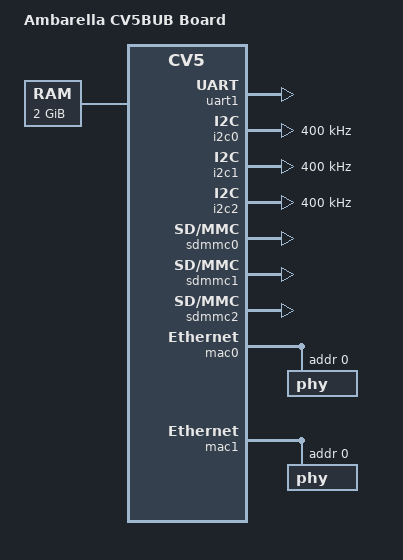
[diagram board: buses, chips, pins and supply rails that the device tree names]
/*
 * board level device tree source
 */

/dts-v1/;

/include/ "cv5.510.dtsi"

/ {
	model = "Ambarella CV5BUB Board";
	compatible = "ambarella,cv5bub", "ambarella,cv5";

	chosen {
		bootargs = "ubi.mtd=5 root=ubi0:linux rootfstype=ubifs console=ttyS0 nosmp maxcpus=0";
	};

	memory {
		device_type = "memory";
		reg = <0x0 0x200000 0x0 0x7fe00000>;
	};

	ddr-controller@1000004000 {
		burst-size = <0x40>;
	};

	apb@20e4000000 {

	};

	ahb@20e0000000 {
		nand@e0002000 {
			amb,timing = <0x303320c 0x5050505 0x71464 0x0 0x0 0x0>;
		};
	};
};

&uart1 {
	status = "ok";
};

&i2c0 {
	clock-frequency = <400000>;
	status = "ok";
};

&i2c1 {
	clock-frequency = <400000>;
	pinctrl-0 = <&i2c1_pins_a>;
	status = "ok";
};

&i2c2 {
	clock-frequency = <400000>;
	pinctrl-0 = <&i2c2_pins_a>;
	status = "ok";
};

&spi4 {
	pinctrl-0 = <&spi4_pins_b>;
};

&spi5 {
	pinctrl-0 = <&spi5_pins_b>;
};

&sdmmc0 {
	/*pwr-gpios = <&gpio 91 0x1>;*/
	/*v18-gpios = <&gpio 129 0x1>;*/
	/*amb,fixed-cd = <1>;*/
	status = "ok";
};

&sdmmc1 {
	/*pwr-gpios = <&gpio 100 0x1>;*/
	/*v18-gpios = <&gpio 130 0x1>;*/
	status = "ok";
};

&sdmmc2 {
	pwr-gpios = <&gpio 109 0x1>;
	v18-gpios = <&gpio 132 0x1>;
	/delete-property/pinctrl-0;
	status = "ok";
};

&mac0 {
	amb,tx-clk-invert;

	phy@0 {
		reg = <0>;
	};
};

&mac1 {
	amb,tx-clk-invert;

	phy@0 {
		reg = <0>;
	};
};

&usbphy {
	/* high will trigger the ocp interrupt */
	amb,ocp-polarity = <0>;
	pinctrl-names = "default";
	pinctrl-0 = <&usb_host0_pins_f>;
};
